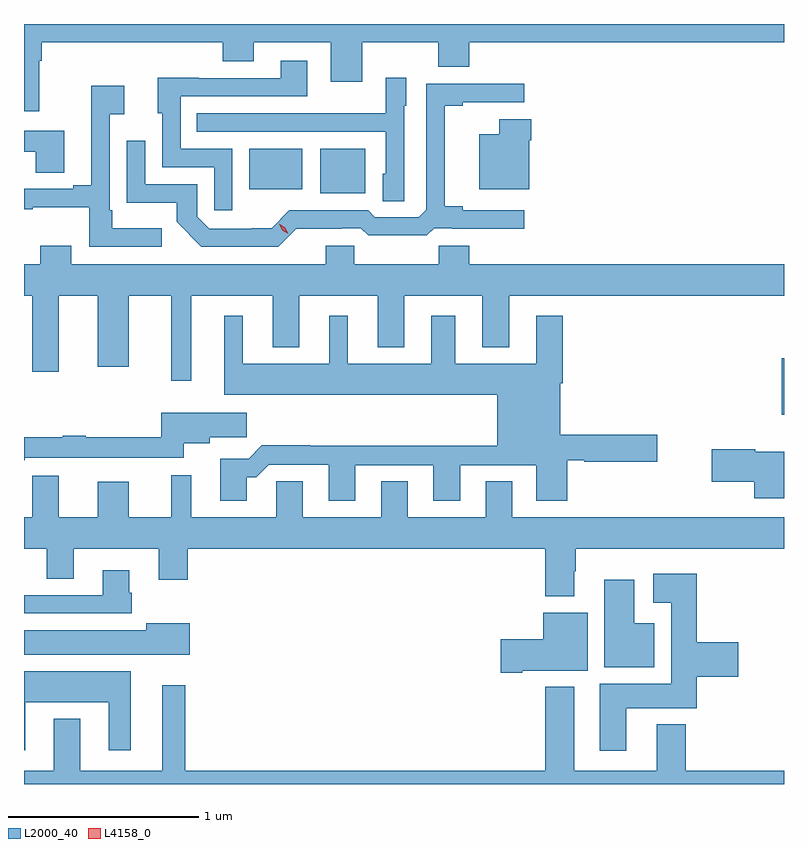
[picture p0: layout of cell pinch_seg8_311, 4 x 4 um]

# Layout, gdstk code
import gdstk
lib = gdstk.Library(unit=1e-6, precision=1e-09)
def R(c, l, rs):  # rectangles x0, y0, x1, y1
    for r in rs: c.add(gdstk.rectangle(r[:2], r[2:], *l))
def P(c, l, *ps):  # polygons
    for p in ps: c.add(gdstk.Polygon(p, *l))
L2000_40 = (2000, 40)
L4158_0 = (4158, 0)

pinch_seg8_311 = lib.new_cell('pinch_seg8_311')
R(pinch_seg8_311, L2000_40, [(612.163,1131.856,612.176,1132.153), (609.734,1133.021,609.973,1133.257), (609.362,1133.042,609.64,1133.257)])
P(pinch_seg8_311, L2000_40, [(608.257,1133.72),(608.27,1133.72),(608.27,1133.816),(609.221,1133.816),(609.221,1133.717),(609.385,1133.717),(609.385,1133.816),(609.791,1133.816),(609.791,1133.61),(609.955,1133.61),(609.955,1133.816),(610.355,1133.816),(610.355,1133.688),(610.519,1133.688),(610.519,1133.816),(612.176,1133.816),(612.176,1133.913),(608.176,1133.913),(608.176,1133.454),(608.257,1133.454)],
  [(609.273,1133.256),(609,1133.256),(609,1133.532),(609.667,1133.532),(609.667,1133.719),(609.527,1133.719),(609.527,1133.628),(609.097,1133.628),(609.097,1133.63),(608.879,1133.63),(608.879,1133.442),(608.904,1133.442),(608.904,1133.16),(609.177,1133.16),(609.177,1132.932),(609.273,1132.932)],
  [(610.176,1133.484),(610.189,1133.484),(610.189,1133.629),(610.08,1133.629),(610.08,1133.443),(609.763,1133.443),(609.763,1133.442),(609.085,1133.442),(609.085,1133.346),(610.08,1133.346),(610.08,1133.124),(610.064,1133.124),(610.064,1132.981),(610.176,1132.981)],
  [(609.608,1132.835),(609.848,1132.835),(609.848,1132.839),(609.948,1132.839),(609.988,1132.8),(610.295,1132.8),(610.335,1132.839),(610.429,1132.839),(610.429,1132.835),(610.81,1132.835),(610.81,1132.932),(610.486,1132.932),(610.486,1132.955),(610.391,1132.955),(610.391,1133.482),(610.486,1133.482),(610.486,1133.502),(610.81,1133.502),(610.81,1133.598),(610.293,1133.598),(610.293,1132.935),(610.254,1132.896),(610.023,1132.896),(609.987,1132.932),(609.573,1132.932),(609.479,1132.838),(609.374,1132.838),(609.374,1132.836),(609.15,1132.836),(609.087,1132.899),(609.087,1133.07),(608.814,1133.07),(608.814,1133.299),(608.718,1133.299),(608.718,1132.973),(608.98,1132.973),(608.98,1132.871),(609.11,1132.74),(609.513,1132.74)],
  [(608.902,1132.837),(608.641,1132.837),(608.641,1132.933),(608.628,1132.933),(608.628,1133.438),(608.704,1133.438),(608.704,1133.587),(608.531,1133.587),(608.531,1133.065),(608.435,1133.065),(608.435,1133.046),(608.176,1133.046),(608.176,1132.938),(608.221,1132.938),(608.221,1132.949),(608.52,1132.949),(608.52,1132.74),(608.902,1132.74)],
  [(610.834,1133.3),(610.847,1133.3),(610.847,1133.413),(610.676,1133.413),(610.676,1133.332),(610.571,1133.332),(610.571,1133.042),(610.834,1133.042)],
  [(608.389,1133.35),(608.176,1133.35),(608.176,1133.24),(608.237,1133.24),(608.237,1133.131),(608.389,1133.131)],
  [(609.055,1132.484),(609.485,1132.484),(609.485,1132.211),(609.625,1132.211),(609.625,1132.484),(610.037,1132.484),(610.037,1132.211),(610.177,1132.211),(610.177,1132.484),(610.589,1132.484),(610.589,1132.211),(610.729,1132.211),(610.729,1132.484),(612.176,1132.484),(612.176,1132.648),(610.52,1132.648),(610.52,1132.746),(610.36,1132.746),(610.36,1132.648),(609.915,1132.648),(609.915,1132.746),(609.764,1132.746),(609.764,1132.648),(608.425,1132.648),(608.425,1132.747),(608.261,1132.747),(608.261,1132.648),(608.176,1132.648),(608.176,1132.484),(608.219,1132.484),(608.219,1132.083),(608.359,1132.083),(608.359,1132.484),(608.564,1132.484),(608.564,1132.11),(608.728,1132.11),(608.728,1132.484),(608.951,1132.484),(608.951,1132.035),(609.055,1132.035)],
  [(609.349,1131.527),(609.398,1131.527),(609.465,1131.594),(609.779,1131.594),(609.779,1131.405),(609.919,1131.405),(609.919,1131.591),(610.331,1131.591),(610.331,1131.405),(610.471,1131.405),(610.471,1131.591),(610.871,1131.591),(610.871,1131.405),(611.036,1131.405),(611.036,1131.618),(611.124,1131.618),(611.124,1131.61),(611.509,1131.61),(611.509,1131.752),(610.999,1131.752),(610.999,1132.022),(611.012,1132.022),(611.012,1132.378),(610.871,1132.378),(610.871,1132.126),(610.447,1132.126),(610.447,1132.378),(610.319,1132.378),(610.319,1132.126),(609.88,1132.126),(609.88,1132.378),(609.782,1132.378),(609.782,1132.126),(609.328,1132.126),(609.328,1132.378),(609.23,1132.378),(609.23,1131.962),(610.667,1131.962),(610.667,1131.692),(609.683,1131.692),(609.683,1131.695),(609.428,1131.695),(609.358,1131.625),(609.209,1131.625),(609.209,1131.405),(609.349,1131.405)],
  [(608.179,1131.63),(609.017,1131.63),(609.017,1131.707),(609.154,1131.707),(609.154,1131.739),(609.349,1131.739),(609.349,1131.868),(608.899,1131.868),(608.899,1131.739),(608.501,1131.739),(608.501,1131.746),(608.379,1131.746),(608.379,1131.739),(608.176,1131.739),(608.176,1131.618),(608.179,1131.618)],
  [(612.176,1131.661),(612.024,1131.661),(612.024,1131.674),(611.796,1131.674),(611.796,1131.503),(612.02,1131.503),(612.02,1131.416),(612.176,1131.416)],
  [(611.071,1131.032),(611.079,1131.032),(611.079,1131.152),(612.176,1131.152),(612.176,1131.316),(610.747,1131.316),(610.747,1131.506),(610.607,1131.506),(610.607,1131.316),(610.195,1131.316),(610.195,1131.506),(610.055,1131.506),(610.055,1131.316),(609.643,1131.316),(609.643,1131.506),(609.504,1131.506),(609.504,1131.316),(609.055,1131.316),(609.055,1131.538),(608.951,1131.538),(608.951,1131.316),(608.728,1131.316),(608.728,1131.505),(608.564,1131.505),(608.564,1131.316),(608.359,1131.316),(608.359,1131.535),(608.219,1131.535),(608.219,1131.316),(608.176,1131.316),(608.176,1131.152),(608.297,1131.152),(608.297,1130.992),(608.437,1130.992),(608.437,1131.152),(608.885,1131.152),(608.885,1130.988),(609.038,1130.988),(609.038,1131.152),(610.919,1131.152),(610.919,1130.9),(611.071,1130.9)],
  [(608.744,1130.919),(608.731,1130.919),(608.731,1131.037),(608.591,1131.037),(608.591,1130.907),(608.176,1130.907),(608.176,1130.811),(608.744,1130.811)],
  [(611.347,1130.312),(611.717,1130.312),(611.717,1130.477),(611.935,1130.477),(611.935,1130.66),(611.717,1130.66),(611.717,1131.019),(611.487,1131.019),(611.487,1130.867),(611.582,1130.867),(611.582,1130.44),(611.207,1130.44),(611.207,1130.088),(611.347,1130.088)],
  [(611.494,1130.758),(611.389,1130.758),(611.389,1130.989),(611.231,1130.989),(611.231,1130.528),(611.494,1130.528)],
  [(610.798,1130.51),(611.143,1130.51),(611.143,1130.815),(610.91,1130.815),(610.91,1130.676),(610.686,1130.676),(610.686,1130.498),(610.798,1130.498)],
  [(609.049,1130.758),(608.819,1130.758),(608.819,1130.722),(608.176,1130.722),(608.176,1130.594),(609.049,1130.594)],
  [(608.182,1130.342),(608.621,1130.342),(608.621,1130.091),(608.737,1130.091),(608.737,1130.506),(608.176,1130.506),(608.176,1130.091),(608.182,1130.091)],
  [(612.176,1129.984),(611.66,1129.984),(611.66,1130.227),(611.507,1130.227),(611.507,1129.984),(611.071,1129.984),(611.071,1130.425),(610.919,1130.425),(610.919,1129.984),(609.025,1129.984),(609.025,1130.434),(608.903,1130.434),(608.903,1129.984),(608.473,1129.984),(608.473,1130.257),(608.333,1130.257),(608.333,1129.984),(608.176,1129.984),(608.176,1129.913),(612.176,1129.913)])
P(pinch_seg8_311, L4158_0, [(609.567,1132.808),(609.536,1132.828),(609.519,1132.862),(609.519,1132.862),(609.52,1132.862),(609.551,1132.841),(609.567,1132.808),(609.567,1132.808)])

lib.write_gds('pinch_seg8_311.gds')
